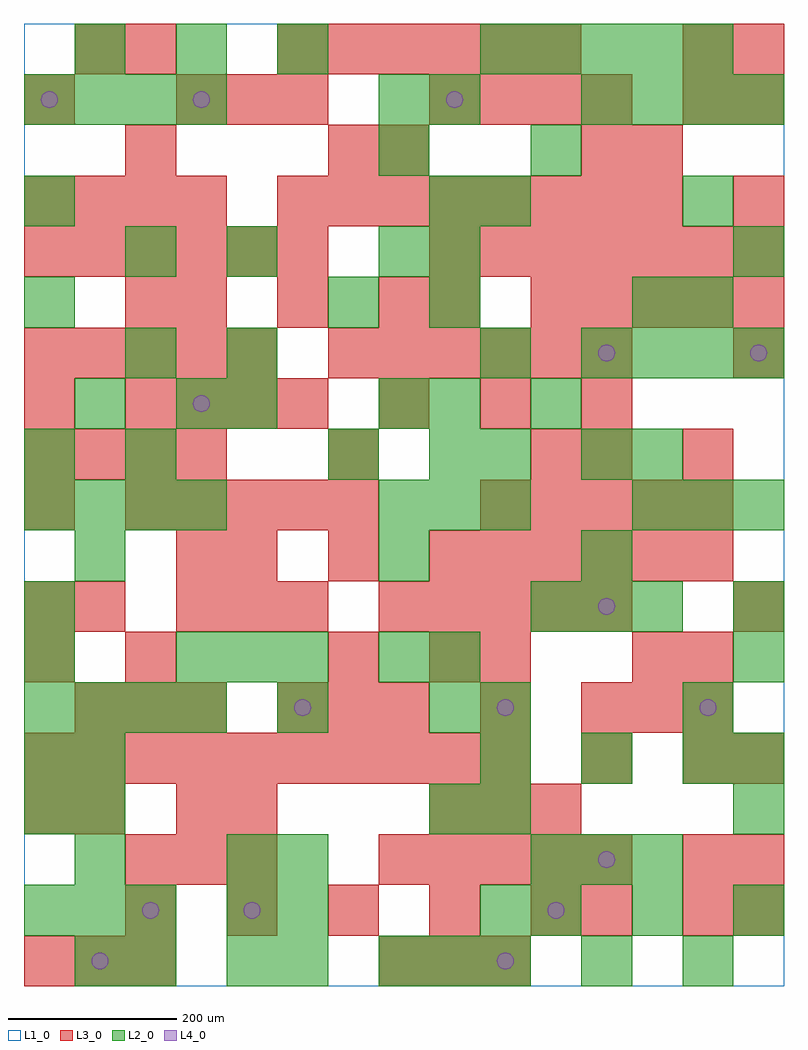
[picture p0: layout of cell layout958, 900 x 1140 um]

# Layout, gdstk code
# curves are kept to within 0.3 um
import gdstk
lib = gdstk.Library(unit=1e-6, precision=1e-09)
def R(c, l, rs):  # rectangles x0, y0, x1, y1
    for r in rs: c.add(gdstk.rectangle(r[:2], r[2:], *l))
def A(c, l, x, y, w, h, nx, ny, dx, dy):  # array of equal rectangles
    R(c, l, [(x+i*dx, y+j*dy, x+i*dx+w, y+j*dy+h) for i in range(nx) for j in range(ny)])
def P(c, l, *ps):  # polygons
    for p in ps: c.add(gdstk.Polygon(p, *l))
L1_0 = (1, 0)
L2_0 = (2, 0)
L3_0 = (3, 0)
L4_0 = (4, 0)

layout958 = lib.new_cell('layout958')
R(layout958, L1_0, [(0,0,900,1140)])
A(layout958, L2_0, 240, 0, 60, 60, 1, 3, 0, 60)
A(layout958, L2_0, 300, 0, 60, 60, 1, 3, 0, 60)
A(layout958, L2_0, 420, 0, 60, 60, 3, 2, 60, 540)
A(layout958, L2_0, 0, 60, 60, 60, 3, 1, 60, 0)
A(layout958, L2_0, 540, 60, 60, 60, 1, 3, 0, 120)
A(layout958, L2_0, 600, 60, 60, 60, 3, 1, 120, 0)
A(layout958, L2_0, 60, 120, 60, 60, 1, 3, 0, 60)
A(layout958, L2_0, 600, 120, 60, 60, 3, 2, 60, 300)
A(layout958, L2_0, 540, 240, 60, 60, 3, 1, 120, 0)
A(layout958, L2_0, 0, 300, 60, 60, 4, 2, 60, 240)
A(layout958, L2_0, 180, 360, 60, 60, 3, 1, 60, 0)
A(layout958, L2_0, 0, 420, 60, 60, 1, 3, 0, 180)
A(layout958, L2_0, 420, 480, 60, 60, 1, 3, 0, 180)
A(layout958, L2_0, 720, 540, 60, 60, 3, 1, 60, 0)
A(layout958, L2_0, 120, 600, 60, 60, 1, 3, 0, 120)
A(layout958, L2_0, 660, 720, 60, 60, 4, 2, 60, 300)
A(layout958, L2_0, 480, 780, 60, 60, 1, 3, 0, 60)
A(layout958, L2_0, 0, 1020, 60, 60, 4, 1, 60, 0)
A(layout958, L2_0, 60, 1080, 60, 60, 3, 1, 120, 0)
A(layout958, L2_0, 540, 1080, 60, 60, 5, 1, 60, 0)
R(layout958, L2_0, [(60,0,120,60), (120,0,180,60), (660,0,720,60), (780,0,840,60), (0,180,60,240), (480,180,540,240), (840,180,900,240), (0,240,60,300), (840,240,900,300), (300,300,360,360), (480,300,540,360), (780,300,840,360), (0,360,60,420), (420,360,480,420), (480,360,540,420), (840,360,900,420), (840,420,900,480), (60,480,120,540), (660,480,720,540), (360,600,420,660), (480,600,540,660), (540,600,600,660), (660,600,720,660), (720,600,780,660), (60,660,120,720), (180,660,240,720), (240,660,300,720), (480,660,540,720), (600,660,660,720), (240,720,300,780), (540,720,600,780), (360,780,420,840), (720,780,780,840), (780,780,840,840), (240,840,300,900), (840,840,900,900), (0,900,60,960), (540,900,600,960), (780,900,840,960), (420,960,480,1020), (600,960,660,1020), (420,1020,480,1080), (480,1020,540,1080)])
A(layout958, L3_0, 0, 0, 60, 60, 3, 1, 60, 0)
A(layout958, L3_0, 420, 0, 60, 60, 3, 1, 60, 0)
A(layout958, L3_0, 120, 60, 60, 60, 5, 1, 120, 0)
A(layout958, L3_0, 120, 120, 60, 60, 3, 1, 60, 0)
A(layout958, L3_0, 420, 120, 60, 60, 5, 2, 60, 300)
A(layout958, L3_0, 780, 120, 60, 60, 1, 3, 0, 120)
A(layout958, L3_0, 480, 180, 60, 60, 3, 1, 60, 0)
A(layout958, L3_0, 0, 240, 60, 60, 10, 1, 60, 0)
A(layout958, L3_0, 660, 240, 60, 60, 1, 3, 0, 360)
A(layout958, L3_0, 60, 300, 60, 60, 3, 1, 60, 0)
A(layout958, L3_0, 300, 300, 60, 60, 3, 1, 60, 0)
A(layout958, L3_0, 660, 300, 60, 60, 3, 1, 60, 0)
A(layout958, L3_0, 0, 420, 60, 60, 1, 3, 0, 120)
A(layout958, L3_0, 180, 420, 60, 60, 3, 2, 60, 600)
A(layout958, L3_0, 240, 480, 60, 60, 3, 1, 120, 0)
A(layout958, L3_0, 540, 480, 60, 60, 5, 2, 60, 60)
A(layout958, L3_0, 120, 540, 60, 60, 5, 1, 60, 0)
A(layout958, L3_0, 0, 600, 60, 60, 4, 2, 60, 300)
A(layout958, L3_0, 120, 660, 60, 60, 4, 1, 60, 0)
A(layout958, L3_0, 420, 660, 60, 60, 3, 1, 120, 0)
A(layout958, L3_0, 0, 720, 60, 60, 5, 1, 60, 0)
A(layout958, L3_0, 360, 720, 60, 60, 6, 1, 60, 0)
A(layout958, L3_0, 180, 780, 60, 60, 3, 1, 120, 0)
A(layout958, L3_0, 600, 780, 60, 60, 5, 1, 60, 0)
A(layout958, L3_0, 0, 840, 60, 60, 6, 1, 60, 0)
A(layout958, L3_0, 480, 840, 60, 60, 7, 1, 60, 0)
A(layout958, L3_0, 300, 900, 60, 60, 8, 1, 60, 0)
A(layout958, L3_0, 480, 1020, 60, 60, 4, 1, 60, 0)
A(layout958, L3_0, 300, 1080, 60, 60, 6, 1, 60, 0)
R(layout958, L3_0, [(660,60,720,120), (780,60,840,120), (840,60,900,120), (840,120,900,180), (0,180,60,240), (60,180,120,240), (180,180,240,240), (240,180,300,240), (840,240,900,300), (540,300,600,360), (0,360,60,420), (120,360,180,420), (360,360,420,420), (480,360,540,420), (540,360,600,420), (720,360,780,420), (60,420,120,480), (840,420,900,480), (180,480,240,540), (360,600,420,660), (600,600,660,660), (780,600,840,660), (840,720,900,780), (120,780,180,840), (480,780,540,840), (840,900,900,960), (120,960,180,1020), (360,960,420,1020), (420,960,480,1020), (720,960,780,1020), (0,1020,60,1080), (780,1020,840,1080), (840,1020,900,1080), (60,1080,120,1140), (120,1080,180,1140), (780,1080,840,1140), (840,1080,900,1140)])
P(layout958, L4_0, [(40,1050),(39.239,1053.827),(37.071,1057.071),(33.827,1059.239),(30,1060),(26.173,1059.239),(22.929,1057.071),(20.761,1053.827),(20,1050),(20.761,1046.173),(22.929,1042.929),(26.173,1040.761),(30,1040),(33.827,1040.761),(37.071,1042.929),(39.239,1046.173)],
  [(100,30),(99.239,33.827),(97.071,37.071),(93.827,39.239),(90,40),(86.173,39.239),(82.929,37.071),(80.761,33.827),(80,30),(80.761,26.173),(82.929,22.929),(86.173,20.761),(90,20),(93.827,20.761),(97.071,22.929),(99.239,26.173)],
  [(160,90),(159.239,93.827),(157.071,97.071),(153.827,99.239),(150,100),(146.173,99.239),(142.929,97.071),(140.761,93.827),(140,90),(140.761,86.173),(142.929,82.929),(146.173,80.761),(150,80),(153.827,80.761),(157.071,82.929),(159.239,86.173)],
  [(220,690),(219.239,693.827),(217.071,697.071),(213.827,699.239),(210,700),(206.173,699.239),(202.929,697.071),(200.761,693.827),(200,690),(200.761,686.173),(202.929,682.929),(206.173,680.761),(210,680),(213.827,680.761),(217.071,682.929),(219.239,686.173)],
  [(220,1050),(219.239,1053.827),(217.071,1057.071),(213.827,1059.239),(210,1060),(206.173,1059.239),(202.929,1057.071),(200.761,1053.827),(200,1050),(200.761,1046.173),(202.929,1042.929),(206.173,1040.761),(210,1040),(213.827,1040.761),(217.071,1042.929),(219.239,1046.173)],
  [(280,90),(279.239,93.827),(277.071,97.071),(273.827,99.239),(270,100),(266.173,99.239),(262.929,97.071),(260.761,93.827),(260,90),(260.761,86.173),(262.929,82.929),(266.173,80.761),(270,80),(273.827,80.761),(277.071,82.929),(279.239,86.173)],
  [(340,330),(339.239,333.827),(337.071,337.071),(333.827,339.239),(330,340),(326.173,339.239),(322.929,337.071),(320.761,333.827),(320,330),(320.761,326.173),(322.929,322.929),(326.173,320.761),(330,320),(333.827,320.761),(337.071,322.929),(339.239,326.173)],
  [(520,1050),(519.239,1053.827),(517.071,1057.071),(513.827,1059.239),(510,1060),(506.173,1059.239),(502.929,1057.071),(500.761,1053.827),(500,1050),(500.761,1046.173),(502.929,1042.929),(506.173,1040.761),(510,1040),(513.827,1040.761),(517.071,1042.929),(519.239,1046.173)],
  [(580,30),(579.239,33.827),(577.071,37.071),(573.827,39.239),(570,40),(566.173,39.239),(562.929,37.071),(560.761,33.827),(560,30),(560.761,26.173),(562.929,22.929),(566.173,20.761),(570,20),(573.827,20.761),(577.071,22.929),(579.239,26.173)],
  [(580,330),(579.239,333.827),(577.071,337.071),(573.827,339.239),(570,340),(566.173,339.239),(562.929,337.071),(560.761,333.827),(560,330),(560.761,326.173),(562.929,322.929),(566.173,320.761),(570,320),(573.827,320.761),(577.071,322.929),(579.239,326.173)],
  [(640,90),(639.239,93.827),(637.071,97.071),(633.827,99.239),(630,100),(626.173,99.239),(622.929,97.071),(620.761,93.827),(620,90),(620.761,86.173),(622.929,82.929),(626.173,80.761),(630,80),(633.827,80.761),(637.071,82.929),(639.239,86.173)],
  [(700,150),(699.239,153.827),(697.071,157.071),(693.827,159.239),(690,160),(686.173,159.239),(682.929,157.071),(680.761,153.827),(680,150),(680.761,146.173),(682.929,142.929),(686.173,140.761),(690,140),(693.827,140.761),(697.071,142.929),(699.239,146.173)],
  [(700,450),(699.239,453.827),(697.071,457.071),(693.827,459.239),(690,460),(686.173,459.239),(682.929,457.071),(680.761,453.827),(680,450),(680.761,446.173),(682.929,442.929),(686.173,440.761),(690,440),(693.827,440.761),(697.071,442.929),(699.239,446.173)],
  [(700,750),(699.239,753.827),(697.071,757.071),(693.827,759.239),(690,760),(686.173,759.239),(682.929,757.071),(680.761,753.827),(680,750),(680.761,746.173),(682.929,742.929),(686.173,740.761),(690,740),(693.827,740.761),(697.071,742.929),(699.239,746.173)],
  [(820,330),(819.239,333.827),(817.071,337.071),(813.827,339.239),(810,340),(806.173,339.239),(802.929,337.071),(800.761,333.827),(800,330),(800.761,326.173),(802.929,322.929),(806.173,320.761),(810,320),(813.827,320.761),(817.071,322.929),(819.239,326.173)],
  [(880,750),(879.239,753.827),(877.071,757.071),(873.827,759.239),(870,760),(866.173,759.239),(862.929,757.071),(860.761,753.827),(860,750),(860.761,746.173),(862.929,742.929),(866.173,740.761),(870,740),(873.827,740.761),(877.071,742.929),(879.239,746.173)])

lib.write_gds('layout958.gds')
